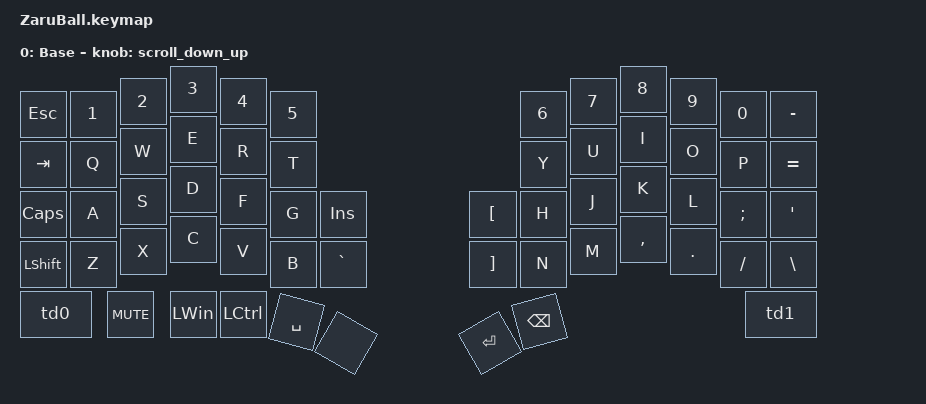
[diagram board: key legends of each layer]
#include <behaviors/rgbled_widget.dtsi>
#include <behaviors.dtsi>
#include <dt-bindings/zmk/bt.h>
#include <dt-bindings/zmk/keys.h>
#include <dt-bindings/zmk/outputs.h>
#include <dt-bindings/zmk/pointing.h>

#define BASE 0

#undef ZMK_POINTING_DEFAULT_SCRL_VAL
#define ZMK_POINTING_DEFAULT_SCRL_VAL 100

/ {
    behaviors {
        scroll_down_up: behavior_sensor_rotate_mouse_wheel_down_up {
            compatible = "zmk,behavior-sensor-rotate";
            #sensor-binding-cells = <0>;
            bindings = <&msc SCRL_DOWN>, <&msc SCRL_UP>;
            tap-ms = <20>;
        };

        td0: tap_dance_0 {
            compatible = "zmk,behavior-tap-dance";
            #binding-cells = <0>;
            tapping-term-ms = <200>;
            bindings = <&mt LALT LANG2>;
        };

        td1: tap_dance_1 {
            compatible = "zmk,behavior-tap-dance";
            #binding-cells = <0>;
            tapping-term-ms = <200>;
            bindings = <&mt RCTL LANG1>;
        };
    };

    keymap {
        compatible = "zmk,keymap";

        base_layer {
            display-name = "Base";
            sensor-bindings = <&scroll_down_up>;
            bindings = <
&kp ESC    &kp N1  &kp N2      &kp N3    &kp N4      &kp N5                         &kp NUMBER_6  &kp N7    &kp N8  &kp N9     &kp N0   &kp MINUS
&kp TAB    &kp Q   &kp W       &kp E     &kp R       &kp T                          &kp Y         &kp U     &kp I   &kp O      &kp P    &kp EQUAL
&kp CAPS   &kp A   &kp S       &kp D     &kp F       &kp G       &kp INS            &kp LBKT      &kp H     &kp J   &kp K      &kp L    &kp SEMI   &kp SQT
&kp LSHFT  &kp Z   &kp X       &kp C     &kp V       &kp B       &kp GRAVE          &kp RBKT      &kp N     &kp M   &kp COMMA  &kp DOT  &kp FSLH   &kp BACKSLASH
&td0               &kp C_MUTE  &kp LWIN  &kp LCTRL   &kp SPACE   &none              &kp RET       &kp BSPC                                       &td1
            >;
        };
    };
};
